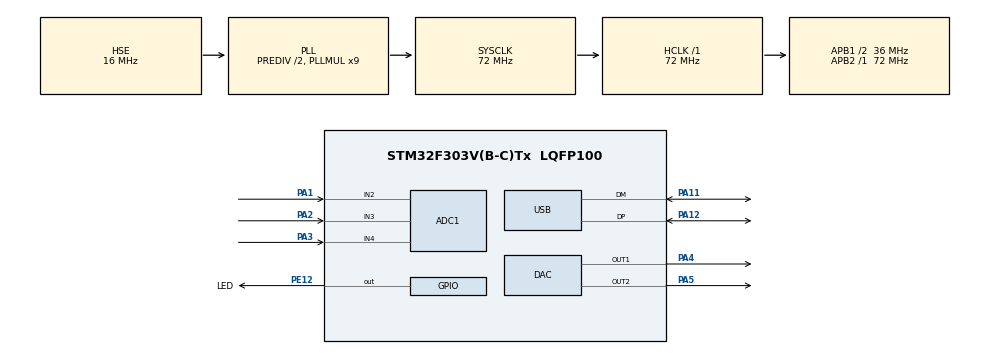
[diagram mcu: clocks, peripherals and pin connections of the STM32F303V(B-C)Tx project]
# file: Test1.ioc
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ADC1.Channel-0\#ChannelRegularConversion=ADC_CHANNEL_3
ADC1.NbrOfConversionFlag=1
ADC1.Offset-0\#ChannelRegularConversion=0
ADC1.OffsetNumber-0\#ChannelRegularConversion=ADC_OFFSET_NONE
ADC1.Rank-0\#ChannelRegularConversion=1
ADC1.SamplingTime-0\#ChannelRegularConversion=ADC_SAMPLETIME_1CYCLE_5
ADC1.master=1
Mcu.Family=STM32F3
Mcu.Name=STM32F303V(B-C)Tx
Mcu.Package=LQFP100
NVIC.PriorityGroup=NVIC_PRIORITYGROUP_4
NVIC.USB_LP_CAN_RX0_IRQn=true\:0\:0\:false\:false\:true\:false\:true
PA1.Mode=IN2-Single-Ended
PA1.Signal=ADC1_IN2
PA11.Mode=Device
PA11.Signal=USB_DM
PA12.Mode=Device
PA12.Signal=USB_DP
PA13.Mode=Serial_Wire
PA13.Signal=SYS_JTMS-SWDIO
PA14.Mode=Serial_Wire
PA14.Signal=SYS_JTCK-SWCLK
PA2.Mode=IN3-Single-Ended
PA2.Signal=ADC1_IN3
PA3.Mode=IN4-Single-Ended
PA3.Signal=ADC1_IN4
PA4.Signal=COMP_DAC1_group
PA5.Signal=COMP_DAC2_group
PE12.GPIO_Label=LED
PE12.Signal=GPIO_Output
PF0-OSC_IN.Mode=HSE-External-Oscillator
PF0-OSC_IN.Signal=RCC_OSC_IN
PF1-OSC_OUT.Mode=HSE-External-Oscillator
PF1-OSC_OUT.Signal=RCC_OSC_OUT
ProjectManager.HeapSize=0x200
ProjectManager.StackSize=0x400
ProjectManager.TargetToolchain=SW4STM32
RCC.AHBFreq_Value=72000000
RCC.APB1CLKDivider=RCC_HCLK_DIV2
RCC.APB1Freq_Value=36000000
RCC.APB1TimFreq_Value=72000000
RCC.APB2Freq_Value=72000000
RCC.APB2TimFreq_Value=72000000
RCC.CortexFreq_Value=72000000
RCC.HCLKFreq_Value=72000000
RCC.HSE_VALUE=16000000
RCC.HSI_VALUE=8000000
RCC.LSE_VALUE=32768
RCC.PLLMUL=RCC_PLL_MUL9
RCC.PRESCALERUSB=RCC_USBCLKSOURCE_PLL_DIV1_5
RCC.RCC_PLLsource_Clock_Source_FROM_HSE=RCC_HSE_PREDIV_DIV2
RCC.SYSCLKFreq_VALUE=72000000
RCC.SYSCLKSourceVirtual=RCC_SYSCLKSOURCE_PLLCLK
RCC.USBFreq_Value=48000000
SH.COMP_DAC1_group.0=DAC_OUT1,DAC_OUT1
SH.COMP_DAC2_group.0=DAC_OUT2,Enable_DAC_OUT2
USB_DEVICE.CLASS_NAME_FS=CDC
USB_DEVICE.VirtualMode=Cdc
USB_DEVICE.VirtualModeFS=Cdc_FS
VP_USB_DEVICE_VS_USB_DEVICE_CDC_FS.Mode=CDC_FS
board=custom

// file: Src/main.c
/* USER CODE BEGIN Header */
/**
  ******************************************************************************
  * @file           : main.c
  * @brief          : Main program body
  ******************************************************************************
  * @attention
  *
  * <h2><center>&copy; Copyright (c) 2020 STMicroelectronics.
  * All rights reserved.</center></h2>
  *
  * This software component is licensed by ST under Ultimate Liberty license
  * SLA0044, the "License"; You may not use this file except in compliance with
  * the License. You may obtain a copy of the License at:
  *                             www.st.com/SLA0044
  *
  ******************************************************************************
  */
/* USER CODE END Header */

#include "main.h"
#include "usb_device.h"

/* USER CODE BEGIN Includes */
#include "usbd_cdc_if.h"
#include "usbd_def.h"

/* USER CODE END Includes */

ADC_HandleTypeDef hadc1;

DAC_HandleTypeDef hdac;

void SystemClock_Config(void);
static void MX_GPIO_Init(void);
static void MX_ADC1_Init(void);
static void MX_DAC_Init(void);

int main(void)
{

  /* MCU Configuration--------------------------------------------------------*/

  /* Reset of all peripherals, Initializes the Flash interface and the Systick. */
  HAL_Init();

  /* Configure the system clock */
  SystemClock_Config();

  /* Initialize all configured peripherals */
  MX_GPIO_Init();
  MX_ADC1_Init();
  MX_DAC_Init();
  MX_USB_DEVICE_Init();

  /* Infinite loop */
  /* USER CODE BEGIN WHILE */
  uint8_t scratch_buffer1[512];
  uint8_t cycle_counter = 0;

  // wait for USB to signal that is connected
  while( !is_usb_connected() ) {}

  uint8_t hello_message[] = "HELLO -- STM32 CDC Serial Demo!  All echoed text will be caps.\n\r";
  cdc_write(hello_message, sizeof(hello_message));

  while (1)
  {
    /* USER CODE END WHILE */

    /* USER CODE BEGIN 3 */
	// see if their is data in the cdc ring buffer to process
	if ( cdc_data_pending() ) {
		// read some data
		int brx = cdc_read(scratch_buffer1, 512);

		// change case to upper for each char in buffer
		for (int idx=0; idx < brx; ++idx ) {
			scratch_buffer1[idx] = to_upper(scratch_buffer1[idx]);
		}
		// write back to cdc device.
		cdc_write(scratch_buffer1, brx);
	}
	if ( cycle_counter > 10 ) {
		HAL_GPIO_TogglePin(LED_GPIO_Port, LED_Pin);
		cycle_counter = 0;
	} else {
		++cycle_counter;
	}

	HAL_Delay(100);

  }
  /* USER CODE END 3 */
}

void SystemClock_Config(void)
{
  RCC_OscInitTypeDef RCC_OscInitStruct = {0};
  RCC_ClkInitTypeDef RCC_ClkInitStruct = {0};
  RCC_PeriphCLKInitTypeDef PeriphClkInit = {0};

  /** Initializes the CPU, AHB and APB busses clocks
  */
  RCC_OscInitStruct.OscillatorType = RCC_OSCILLATORTYPE_HSE;
  RCC_OscInitStruct.HSEState = RCC_HSE_ON;
  RCC_OscInitStruct.HSEPredivValue = RCC_HSE_PREDIV_DIV2;
  RCC_OscInitStruct.HSIState = RCC_HSI_ON;
  RCC_OscInitStruct.PLL.PLLState = RCC_PLL_ON;
  RCC_OscInitStruct.PLL.PLLSource = RCC_PLLSOURCE_HSE;
  RCC_OscInitStruct.PLL.PLLMUL = RCC_PLL_MUL9;
  if (HAL_RCC_OscConfig(&RCC_OscInitStruct) != HAL_OK)
  {
    Error_Handler();
  }
  /** Initializes the CPU, AHB and APB busses clocks
  */
  RCC_ClkInitStruct.ClockType = RCC_CLOCKTYPE_HCLK|RCC_CLOCKTYPE_SYSCLK
                              |RCC_CLOCKTYPE_PCLK1|RCC_CLOCKTYPE_PCLK2;
  RCC_ClkInitStruct.SYSCLKSource = RCC_SYSCLKSOURCE_PLLCLK;
  RCC_ClkInitStruct.AHBCLKDivider = RCC_SYSCLK_DIV1;
  RCC_ClkInitStruct.APB1CLKDivider = RCC_HCLK_DIV2;
  RCC_ClkInitStruct.APB2CLKDivider = RCC_HCLK_DIV1;

  if (HAL_RCC_ClockConfig(&RCC_ClkInitStruct, FLASH_LATENCY_2) != HAL_OK)
  {
    Error_Handler();
  }
  PeriphClkInit.PeriphClockSelection = RCC_PERIPHCLK_USB|RCC_PERIPHCLK_ADC12;
  PeriphClkInit.Adc12ClockSelection = RCC_ADC12PLLCLK_DIV1;
  PeriphClkInit.USBClockSelection = RCC_USBCLKSOURCE_PLL_DIV1_5;
  if (HAL_RCCEx_PeriphCLKConfig(&PeriphClkInit) != HAL_OK)
  {
    Error_Handler();
  }
}

static void MX_ADC1_Init(void)
{

  ADC_MultiModeTypeDef multimode = {0};
  ADC_ChannelConfTypeDef sConfig = {0};

  /** Common config
  */
  hadc1.Instance = ADC1;
  hadc1.Init.ClockPrescaler = ADC_CLOCK_ASYNC_DIV1;
  hadc1.Init.Resolution = ADC_RESOLUTION_12B;
  hadc1.Init.ScanConvMode = ADC_SCAN_DISABLE;
  hadc1.Init.ContinuousConvMode = DISABLE;
  hadc1.Init.DiscontinuousConvMode = DISABLE;
  hadc1.Init.ExternalTrigConvEdge = ADC_EXTERNALTRIGCONVEDGE_NONE;
  hadc1.Init.ExternalTrigConv = ADC_SOFTWARE_START;
  hadc1.Init.DataAlign = ADC_DATAALIGN_RIGHT;
  hadc1.Init.NbrOfConversion = 1;
  hadc1.Init.DMAContinuousRequests = DISABLE;
  hadc1.Init.EOCSelection = ADC_EOC_SINGLE_CONV;
  hadc1.Init.LowPowerAutoWait = DISABLE;
  hadc1.Init.Overrun = ADC_OVR_DATA_OVERWRITTEN;
  if (HAL_ADC_Init(&hadc1) != HAL_OK)
  {
    Error_Handler();
  }
  /** Configure the ADC multi-mode
  */
  multimode.Mode = ADC_MODE_INDEPENDENT;
  if (HAL_ADCEx_MultiModeConfigChannel(&hadc1, &multimode) != HAL_OK)
  {
    Error_Handler();
  }
  /** Configure Regular Channel
  */
  sConfig.Channel = ADC_CHANNEL_3;
  sConfig.Rank = ADC_REGULAR_RANK_1;
  sConfig.SingleDiff = ADC_SINGLE_ENDED;
  sConfig.SamplingTime = ADC_SAMPLETIME_1CYCLE_5;
  sConfig.OffsetNumber = ADC_OFFSET_NONE;
  sConfig.Offset = 0;
  if (HAL_ADC_ConfigChannel(&hadc1, &sConfig) != HAL_OK)
  {
    Error_Handler();
  }

}

static void MX_DAC_Init(void)
{

  DAC_ChannelConfTypeDef sConfig = {0};

  /** DAC Initialization
  */
  hdac.Instance = DAC;
  if (HAL_DAC_Init(&hdac) != HAL_OK)
  {
    Error_Handler();
  }
  /** DAC channel OUT1 config
  */
  sConfig.DAC_Trigger = DAC_TRIGGER_NONE;
  sConfig.DAC_OutputBuffer = DAC_OUTPUTBUFFER_ENABLE;
  if (HAL_DAC_ConfigChannel(&hdac, &sConfig, DAC_CHANNEL_1) != HAL_OK)
  {
    Error_Handler();
  }
  /** DAC channel OUT2 config
  */
  if (HAL_DAC_ConfigChannel(&hdac, &sConfig, DAC_CHANNEL_2) != HAL_OK)
  {
    Error_Handler();
  }

}

static void MX_GPIO_Init(void)
{
  GPIO_InitTypeDef GPIO_InitStruct = {0};

  /* GPIO Ports Clock Enable */
  __HAL_RCC_GPIOF_CLK_ENABLE();
  __HAL_RCC_GPIOA_CLK_ENABLE();
  __HAL_RCC_GPIOE_CLK_ENABLE();

  /*Configure GPIO pin Output Level */
  HAL_GPIO_WritePin(LED_GPIO_Port, LED_Pin, GPIO_PIN_RESET);

  /*Configure GPIO pin : LED_Pin */
  GPIO_InitStruct.Pin = LED_Pin;
  GPIO_InitStruct.Mode = GPIO_MODE_OUTPUT_PP;
  GPIO_InitStruct.Pull = GPIO_NOPULL;
  GPIO_InitStruct.Speed = GPIO_SPEED_FREQ_LOW;
  HAL_GPIO_Init(LED_GPIO_Port, &GPIO_InitStruct);

}

/* USER CODE BEGIN 4 */

// write stuff on USB CDC device
int cdc_write(uint8_t *buffer, unsigned int len) {
	return CDC_Transmit_FS(buffer, len);
}

// read stuff from USB CDC device
// return 0 if no data is available
int cdc_read(uint8_t *buffer, unsigned int max_len) {
	int bytes_rx = 0;
	uint8_t *byte_ptr;
	// read bytes of data from ring buffer until empty, or max_len reached.
	while( (byte_ptr = rb_get(&cdc_rx_rb) ) && (bytes_rx <= max_len) ) {
		buffer[bytes_rx] = *byte_ptr;
		++bytes_rx;
	}
	return bytes_rx;
}

int cdc_data_pending() {
	if ( rb_isempty(&cdc_rx_rb) ) {
		// no data available to read
		return 0;
	} else {
		// data available to read
		return 1;
	}
}

uint8_t to_upper(uint8_t b) {
	if ( ( b >= 97 ) && ( b <= 122 ) ) {
		return b - 32;
	} else {
		return b;
	}
}

int is_usb_connected() {
	if ( hUsbDeviceFS.dev_state == USBD_STATE_CONFIGURED) {
		return 1;
	} else {
		return 0;
	}
}

/* USER CODE END 4 */

void Error_Handler(void)
{
}

/************************ (C) COPYRIGHT STMicroelectronics *****END OF FILE****/
